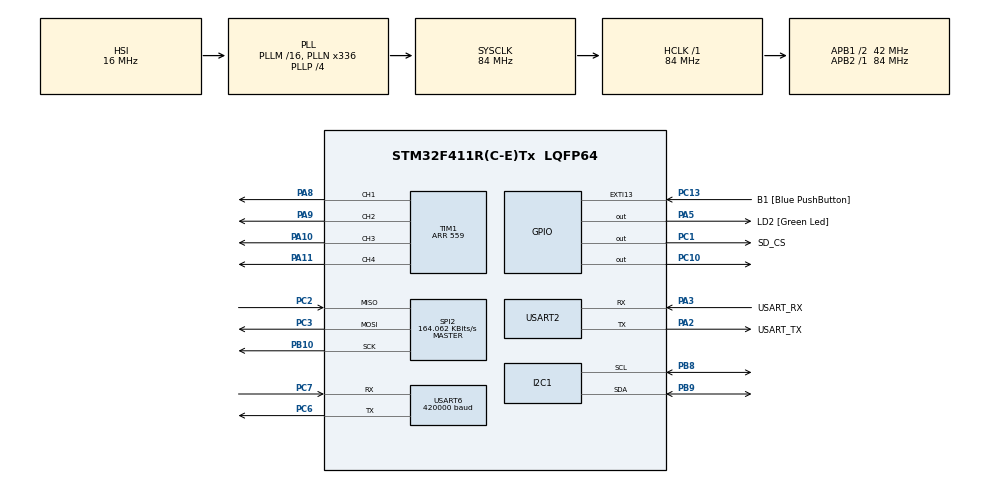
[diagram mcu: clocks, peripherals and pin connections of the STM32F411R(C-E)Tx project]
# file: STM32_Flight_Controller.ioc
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Dma.Request0=TIM1_UP
Dma.Request1=USART6_RX
Dma.TIM1_UP.0.Direction=DMA_MEMORY_TO_PERIPH
Dma.TIM1_UP.0.FIFOMode=DMA_FIFOMODE_DISABLE
Dma.TIM1_UP.0.Instance=DMA2_Stream5
Dma.TIM1_UP.0.MemDataAlignment=DMA_MDATAALIGN_HALFWORD
Dma.TIM1_UP.0.MemInc=DMA_MINC_ENABLE
Dma.TIM1_UP.0.Mode=DMA_NORMAL
Dma.TIM1_UP.0.PeriphDataAlignment=DMA_PDATAALIGN_HALFWORD
Dma.TIM1_UP.0.PeriphInc=DMA_PINC_DISABLE
Dma.TIM1_UP.0.Priority=DMA_PRIORITY_VERY_HIGH
Dma.USART6_RX.1.Direction=DMA_PERIPH_TO_MEMORY
Dma.USART6_RX.1.FIFOMode=DMA_FIFOMODE_DISABLE
Dma.USART6_RX.1.Instance=DMA2_Stream1
Dma.USART6_RX.1.MemDataAlignment=DMA_MDATAALIGN_BYTE
Dma.USART6_RX.1.MemInc=DMA_MINC_ENABLE
Dma.USART6_RX.1.Mode=DMA_CIRCULAR
Dma.USART6_RX.1.PeriphDataAlignment=DMA_PDATAALIGN_BYTE
Dma.USART6_RX.1.PeriphInc=DMA_PINC_DISABLE
Dma.USART6_RX.1.Priority=DMA_PRIORITY_MEDIUM
FATFS._FS_NORTC=1
FATFS._USE_FASTSEEK=0
FATFS._USE_MKFS=0
FATFS._USE_STRFUNC=0
Mcu.Family=STM32F4
Mcu.Name=STM32F411R(C-E)Tx
Mcu.Package=LQFP64
NVIC.DMA2_Stream1_IRQn=true\:0\:0\:false\:false\:true\:false\:true\:true
NVIC.DMA2_Stream5_IRQn=true\:0\:0\:false\:false\:true\:false\:true\:true
NVIC.PriorityGroup=NVIC_PRIORITYGROUP_0
NVIC.TIM2_IRQn=true\:0\:0\:false\:false\:true\:true\:true\:true
NVIC.USART6_IRQn=true\:0\:0\:false\:false\:true\:true\:true\:true
PA10.Signal=S_TIM1_CH3
PA11.Signal=S_TIM1_CH4
PA13.GPIO_Label=TMS
PA13.Mode=Serial_Wire
PA13.Signal=SYS_JTMS-SWDIO
PA14.GPIO_Label=TCK
PA14.Mode=Serial_Wire
PA14.Signal=SYS_JTCK-SWCLK
PA2.GPIO_Label=USART_TX
PA2.Mode=Asynchronous
PA2.Signal=USART2_TX
PA3.GPIO_Label=USART_RX
PA3.Mode=Asynchronous
PA3.Signal=USART2_RX
PA5.GPIO_Label=LD2 [Green Led]
PA5.Signal=GPIO_Output
PA8.Signal=S_TIM1_CH1
PA9.Signal=S_TIM1_CH2
PB10.Mode=Full_Duplex_Master
PB10.Signal=SPI2_SCK
PB3.GPIO_Label=SWO
PB3.Signal=SYS_JTDO-SWO
PB8.Mode=I2C
PB8.Signal=I2C1_SCL
PB9.Mode=I2C
PB9.Signal=I2C1_SDA
PC1.GPIO_Label=SD_CS
PC1.PinState=GPIO_PIN_SET
PC1.Signal=GPIO_Output
PC10.Signal=GPIO_Output
PC13-ANTI_TAMP.GPIO_Label=B1 [Blue PushButton]
PC13-ANTI_TAMP.GPIO_ModeDefaultEXTI=GPIO_MODE_IT_FALLING
PC13-ANTI_TAMP.Signal=GPXTI13
PC14-OSC32_IN.Mode=LSE-External-Oscillator
PC14-OSC32_IN.Signal=RCC_OSC32_IN
PC15-OSC32_OUT.Mode=LSE-External-Oscillator
PC15-OSC32_OUT.Signal=RCC_OSC32_OUT
PC2.Mode=Full_Duplex_Master
PC2.Signal=SPI2_MISO
PC3.Mode=Full_Duplex_Master
PC3.Signal=SPI2_MOSI
PC6.Mode=Asynchronous
PC6.Signal=USART6_TX
PC7.Mode=Asynchronous
PC7.Signal=USART6_RX
PH0\ -\ OSC_IN.Mode=HSE-External-Clock-Source
PH0\ -\ OSC_IN.Signal=RCC_OSC_IN
PH1\ -\ OSC_OUT.Mode=HSE-External-Clock-Source
PH1\ -\ OSC_OUT.Signal=RCC_OSC_OUT
ProjectManager.HeapSize=0x200
ProjectManager.StackSize=0x400
ProjectManager.TargetToolchain=STM32CubeIDE
RCC.48MHZClocksFreq_Value=84000000
RCC.AHBFreq_Value=84000000
RCC.APB1CLKDivider=RCC_HCLK_DIV2
RCC.APB1Freq_Value=42000000
RCC.APB1TimFreq_Value=84000000
RCC.APB2Freq_Value=84000000
RCC.APB2TimFreq_Value=84000000
RCC.CortexFreq_Value=84000000
RCC.FLatency-AdvancedSettings=FLASH_LATENCY_2
RCC.HCLKFreq_Value=84000000
RCC.HSE_VALUE=8000000
RCC.HSI_VALUE=16000000
RCC.PLLN=336
RCC.PLLP=RCC_PLLP_DIV4
RCC.SYSCLKFreq_VALUE=84000000
RCC.SYSCLKSource=RCC_SYSCLKSOURCE_PLLCLK
RCC.VCOOutputFreq_Value=336000000
SH.S_TIM1_CH1.0=TIM1_CH1,PWM Generation1 CH1
SH.S_TIM1_CH2.0=TIM1_CH2,PWM Generation2 CH2
SH.S_TIM1_CH3.0=TIM1_CH3,PWM Generation3 CH3
SH.S_TIM1_CH4.0=TIM1_CH4,PWM Generation4 CH4
SPI2.BaudRatePrescaler=SPI_BAUDRATEPRESCALER_256
SPI2.CalculateBaudRate=164.062 KBits/s
SPI2.Direction=SPI_DIRECTION_2LINES
SPI2.Mode=SPI_MODE_MASTER
SPI2.VirtualType=VM_MASTER
TIM1.Channel-PWM\ Generation1\ CH1=TIM_CHANNEL_1
TIM1.Channel-PWM\ Generation2\ CH2=TIM_CHANNEL_2
TIM1.Channel-PWM\ Generation3\ CH3=TIM_CHANNEL_3
TIM1.Channel-PWM\ Generation4\ CH4=TIM_CHANNEL_4
TIM1.Period=559
TIM2.Period=99
TIM2.Prescaler=8399
USART2.VirtualMode=VM_ASYNC
USART6.BaudRate=420000
USART6.VirtualMode=VM_ASYNC
VP_FATFS_VS_Generic.Mode=User_defined
VP_TIM1_VS_ClockSourceINT.Mode=Internal
VP_TIM2_VS_ClockSourceINT.Mode=Internal
board=NUCLEO-F411RE

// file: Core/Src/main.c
/* USER CODE BEGIN Header */
/**
  ******************************************************************************
  * @file           : main.c
  * @brief          : Main program body
  ******************************************************************************
  * @attention
  *
  * Copyright (c) 2026 STMicroelectronics.
  * All rights reserved.
  *
  * This software is licensed under terms that can be found in the LICENSE file
  * in the root directory of this software component.
  * If no LICENSE file comes with this software, it is provided AS-IS.
  *
  ******************************************************************************
  */
/* USER CODE END Header */
#include "main.h"
#include "fatfs.h"

/* USER CODE BEGIN Includes */
#include "debug.h"
#include "MPU6050.h"
#include "Mahony.h"
#include "DShot.h"
#include "MotorMixer.h"
#include "CRSF.h"
#include "RCInput.h"
#include "FlightController.h"
#include "Logging.h"
#include "Safety.h"
#include "I2CRecovery.h"
#include "SDCard.h"

#include "fatfs.h"

#include <stdio.h>
#include <stdbool.h>
#include <string.h>

/* USER CODE END Includes */

I2C_HandleTypeDef hi2c1;

SPI_HandleTypeDef hspi2;

TIM_HandleTypeDef htim1;
TIM_HandleTypeDef htim2;
DMA_HandleTypeDef hdma_tim1_up;

UART_HandleTypeDef huart2;
UART_HandleTypeDef huart6;
DMA_HandleTypeDef hdma_usart6_rx;

/* USER CODE BEGIN PV */

float roll = 0.0f;
float pitch = 0.0f;
float yaw = 0.0f;

float rollOffset = 0.0f;
float pitchOffset = 0.0f;

volatile uint32_t valid_frame_count = 0;

volatile uint8_t ControlLoopFlag = 0;

/* USER CODE END PV */

void SystemClock_Config(void);
static void MX_GPIO_Init(void);
static void MX_DMA_Init(void);
static void MX_USART2_UART_Init(void);
static void MX_I2C1_Init(void);
static void MX_TIM2_Init(void);
static void MX_TIM1_Init(void);
static void MX_USART6_UART_Init(void);
static void MX_SPI2_Init(void);

/* USER CODE BEGIN 0 */

volatile uint32_t timer_count = 0;

void HAL_TIM_PeriodElapsedCallback(TIM_HandleTypeDef *htim)
{
    if (htim->Instance == TIM2)
    {
        ControlLoopFlag = 1;
//        timer_count++;
    }

}

/* USER CODE END 0 */

int main(void)
{

  /* MCU Configuration--------------------------------------------------------*/

  /* Reset of all peripherals, Initializes the Flash interface and the Systick. */
  HAL_Init();

  /* Configure the system clock */
  SystemClock_Config();

  /* Initialize all configured peripherals */
  MX_GPIO_Init();
  MX_DMA_Init();
  MX_USART2_UART_Init();
  MX_I2C1_Init();
  MX_TIM2_Init();
  MX_TIM1_Init();
  MX_USART6_UART_Init();
  MX_SPI2_Init();
  MX_FATFS_Init();
  /* USER CODE BEGIN 2 */

  /* Real Init Sequence */
  uint32_t reset_flags = RCC->CSR;

  printf("\r\n========== NEW BOOT ==========\r\n");
  printf("Reset flags: 0x%08lX\r\n", reset_flags);

  __HAL_RCC_CLEAR_RESET_FLAGS();

  static uint32_t boot_count = 0;
  boot_count++;

  printf("MAIN START %lu\r\n", boot_count);

  printf("Flight controller booted!\r\n");

  DShot_Init();

  while (!MPU6050_Init())
  {
      printf("MPU6050 initialization failed\r\n");

      HAL_StatusTypeDef status =
          HAL_I2C_IsDeviceReady(&hi2c1, 0x68 << 1, 3, 10);

      printf("Ready status: %d | HAL error: 0x%08lX\r\n",
             status,
             HAL_I2C_GetError(&hi2c1));

     bool recovered = I2CRecovery();

     printf("recovered = %s\r\n", recovered ? "SUCCESSS" : "FAILED");

     MX_I2C1_Init();

      HAL_Delay(500);
  }

  printf("MPU6050 initialized\r\n");

  printf("Keep MPU6050 still. Calibrating...\r\n");
  Calibrate_MPU6050();

  printf("Gyro offsets: %.3f, %.3f, %.3f\r\n",
         GxOffset,
         GyOffset,
         GzOffset);

  Mahony_Init();
  Mahony_SetGains(3.15f, 0.0f);
//
  FlightController_Init();

  CRSF_Init();

  Safety_Init();
//
  /*
   * Establish an initial attitude before starting the control timer.
   */
  for (uint16_t i = 0; i < 200; i++)
  {
      MPU6050_Read();

      float correctedGx = Gx - GxOffset;
      float correctedGy = Gy - GyOffset;
      float correctedGz = Gz - GzOffset;

      Mahony_UpdateIMU(
              correctedGx,
              correctedGy,
              correctedGz,
              Ax,
              Ay,
              Az,
              0.01f);

      HAL_Delay(10);
  }

  Mahony_GetEuler(&roll, &pitch, &yaw);

  rollOffset = roll;
  pitchOffset = pitch;

  printf("Level offsets: Roll %.2f, Pitch %.2f\r\n",
         rollOffset,
         pitchOffset);

  printf("Calibration complete\r\n");
//
//
  Logger_Reset();
//
  if (HAL_TIM_Base_Start_IT(&htim2) != HAL_OK)
  {
      Error_Handler();
  }
//
  FlightData flight_data;

  bool was_armed = false;
  bool current_armed = false;

  uint16_t current_throttle = 0;

  bool log_flush_requested = false;

  /* End of Real Init Sequence */

  /* USER CODE END 2 */

  /* Infinite loop */
  while (1)
  {

    /* USER CODE BEGIN 3 */

      /* Real Control Loop */

      if (ControlLoopFlag)
      {
          ControlLoopFlag = 0;

          HAL_GPIO_WritePin(GPIOC, GPIO_PIN_10, GPIO_PIN_SET);

          Safety_Input safety;

          bool imu_valid = MPU6050_Read();

          float correctedGx = 0.0f;
          float correctedGy = 0.0f;
          float correctedGz = 0.0f;

          float roll = 0.0f;
          float pitch = 0.0f;
          float yaw = 0.0f;

          if (imu_valid == true)
          {

              correctedGx = Gx - GxOffset;
              correctedGy = Gy - GyOffset;
              correctedGz = Gz - GzOffset;

              Mahony_UpdateIMU(
                      correctedGx,
                      correctedGy,
                      correctedGz,
                      Ax,
                      Ay,
                      Az,
                      0.01f);

              Mahony_GetEuler(&roll, &pitch, &yaw);

              roll -= rollOffset;
              pitch -= pitchOffset;
          }

          const uint16_t *channels = CRSF_GetChannels();

          valid_frame_count = CRSF_GetValidFrameCount();

          RCInput_Update(channels);

          const RC_Setpoints *setpoints =
                  RCInput_GetSetpoints();

          safety.arm_requested = setpoints->arm_requested;
          safety.receiver_valid = CRSF_IsReceiverValid();
          safety.throttle = setpoints->throttle;
          safety.sensor_valid = imu_valid;

          Safety_Update(&safety);

          FlightController_Input controller_input = {
                  .roll_setpoint = setpoints->roll_setpoint,
                  .pitch_setpoint = setpoints->pitch_setpoint,
                  .yaw_rate_setpoint = setpoints->yaw_rate_setpoint,

                  .throttle = setpoints->throttle,

                  .roll_measured = roll,
                  .pitch_measured = pitch,
                  .yaw_rate_measured = correctedGz,

                  .dt = 0.01f
          };

         FlightController_Update(&controller_input);

         const FlightController_Output *controller_output =
                 FlightController_GetOutput();

         MotorOutputs motor_output = MotorMixer_Mix(
                 (int16_t)controller_output->roll_correction,
                 (int16_t)controller_output->pitch_correction,
                 (int16_t)controller_output->yaw_rate_correction,
                 setpoints->throttle);

          if (Safety_IsArmed())
          {
              DShot_Send(
                      motor_output.m1,
                      motor_output.m2,
                      motor_output.m3,
                      motor_output.m4);
          }
          else
          {
              FlightController_Reset();
              DShot_Send(0, 0, 0, 0);
          }

          flight_data = (FlightData) {
              .roll_measured = roll,
              .pitch_measured = pitch,
              .yaw_rate_measured = correctedGz,

              .roll_setpoint = setpoints->roll_setpoint,
              .pitch_setpoint = setpoints->pitch_setpoint,
              .yaw_rate_setpoint = setpoints->yaw_rate_setpoint,

              .roll_correction = controller_output->roll_correction,
              .pitch_correction = controller_output->pitch_correction,
              .yaw_rate_correction = controller_output->yaw_rate_correction,

              .roll_p_term = controller_output->roll_p_term,
              .roll_i_term = controller_output->roll_i_term,
              .roll_d_term = controller_output->roll_d_term,

              .pitch_p_term = controller_output->pitch_p_term,
              .pitch_i_term = controller_output->pitch_i_term,
              .pitch_d_term = controller_output->pitch_d_term,

              .yaw_p_term = controller_output->yaw_p_term,
              .yaw_i_term = controller_output->yaw_i_term,
              .yaw_d_term = controller_output->yaw_d_term,

              .throttle = setpoints->throttle,

              .motor1 = motor_output.m1,
              .motor2 = motor_output.m2,
              .motor3 = motor_output.m3,
              .motor4 = motor_output.m4,

              .valid_frame_count = CRSF_GetValidFrameCount(),

              .receiver_valid = safety.receiver_valid,
              .sensor_valid = safety.sensor_valid,
              .arm_requested = safety.arm_requested,
              .armed = Safety_IsArmed(),

              .timestamp_ms = HAL_GetTick()
          };

          current_armed = flight_data.armed;
          current_throttle = flight_data.throttle;

          if ((current_armed == true) && (current_throttle >= 550))
          {
              Logger_ReceiveData(&flight_data);
          }

          if ((current_armed == false) && (was_armed == true))
          {
              log_flush_requested = true;
              printf("DISARM EDGE DETECTED\r\n");
          }

          was_armed = current_armed;

          HAL_GPIO_WritePin(GPIOC, GPIO_PIN_10, GPIO_PIN_RESET);
      }

      if (log_flush_requested == true)
      {
          printf("PROCESSING LOG\r\n");
          Logger_ProcessData();
          log_flush_requested = false;
      }

   /* End of Real Control Loop */

      }

  /* USER CODE END 3 */
}

void SystemClock_Config(void)
{
  RCC_OscInitTypeDef RCC_OscInitStruct = {0};
  RCC_ClkInitTypeDef RCC_ClkInitStruct = {0};

  /** Configure the main internal regulator output voltage
  */
  __HAL_RCC_PWR_CLK_ENABLE();
  __HAL_PWR_VOLTAGESCALING_CONFIG(PWR_REGULATOR_VOLTAGE_SCALE1);

  /** Initializes the RCC Oscillators according to the specified parameters
  * in the RCC_OscInitTypeDef structure.
  */
  RCC_OscInitStruct.OscillatorType = RCC_OSCILLATORTYPE_HSI;
  RCC_OscInitStruct.HSIState = RCC_HSI_ON;
  RCC_OscInitStruct.HSICalibrationValue = RCC_HSICALIBRATION_DEFAULT;
  RCC_OscInitStruct.PLL.PLLState = RCC_PLL_ON;
  RCC_OscInitStruct.PLL.PLLSource = RCC_PLLSOURCE_HSI;
  RCC_OscInitStruct.PLL.PLLM = 16;
  RCC_OscInitStruct.PLL.PLLN = 336;
  RCC_OscInitStruct.PLL.PLLP = RCC_PLLP_DIV4;
  RCC_OscInitStruct.PLL.PLLQ = 4;
  if (HAL_RCC_OscConfig(&RCC_OscInitStruct) != HAL_OK)
  {
    Error_Handler();
  }

  /** Initializes the CPU, AHB and APB buses clocks
  */
  RCC_ClkInitStruct.ClockType = RCC_CLOCKTYPE_HCLK|RCC_CLOCKTYPE_SYSCLK
                              |RCC_CLOCKTYPE_PCLK1|RCC_CLOCKTYPE_PCLK2;
  RCC_ClkInitStruct.SYSCLKSource = RCC_SYSCLKSOURCE_PLLCLK;
  RCC_ClkInitStruct.AHBCLKDivider = RCC_SYSCLK_DIV1;
  RCC_ClkInitStruct.APB1CLKDivider = RCC_HCLK_DIV2;
  RCC_ClkInitStruct.APB2CLKDivider = RCC_HCLK_DIV1;

  if (HAL_RCC_ClockConfig(&RCC_ClkInitStruct, FLASH_LATENCY_2) != HAL_OK)
  {
    Error_Handler();
  }
}

static void MX_I2C1_Init(void)
{

  hi2c1.Instance = I2C1;
  hi2c1.Init.ClockSpeed = 100000;
  hi2c1.Init.DutyCycle = I2C_DUTYCYCLE_2;
  hi2c1.Init.OwnAddress1 = 0;
  hi2c1.Init.AddressingMode = I2C_ADDRESSINGMODE_7BIT;
  hi2c1.Init.DualAddressMode = I2C_DUALADDRESS_DISABLE;
  hi2c1.Init.OwnAddress2 = 0;
  hi2c1.Init.GeneralCallMode = I2C_GENERALCALL_DISABLE;
  hi2c1.Init.NoStretchMode = I2C_NOSTRETCH_DISABLE;
  if (HAL_I2C_Init(&hi2c1) != HAL_OK)
  {
    Error_Handler();
  }

}

static void MX_SPI2_Init(void)
{

  /* SPI2 parameter configuration*/
  hspi2.Instance = SPI2;
  hspi2.Init.Mode = SPI_MODE_MASTER;
  hspi2.Init.Direction = SPI_DIRECTION_2LINES;
  hspi2.Init.DataSize = SPI_DATASIZE_8BIT;
  hspi2.Init.CLKPolarity = SPI_POLARITY_LOW;
  hspi2.Init.CLKPhase = SPI_PHASE_1EDGE;
  hspi2.Init.NSS = SPI_NSS_SOFT;
  hspi2.Init.BaudRatePrescaler = SPI_BAUDRATEPRESCALER_256;
  hspi2.Init.FirstBit = SPI_FIRSTBIT_MSB;
  hspi2.Init.TIMode = SPI_TIMODE_DISABLE;
  hspi2.Init.CRCCalculation = SPI_CRCCALCULATION_DISABLE;
  hspi2.Init.CRCPolynomial = 10;
  if (HAL_SPI_Init(&hspi2) != HAL_OK)
  {
    Error_Handler();
  }

}

static void MX_TIM1_Init(void)
{

  TIM_ClockConfigTypeDef sClockSourceConfig = {0};
  TIM_MasterConfigTypeDef sMasterConfig = {0};
  TIM_OC_InitTypeDef sConfigOC = {0};
  TIM_BreakDeadTimeConfigTypeDef sBreakDeadTimeConfig = {0};

  htim1.Instance = TIM1;
  htim1.Init.Prescaler = 0;
  htim1.Init.CounterMode = TIM_COUNTERMODE_UP;
  htim1.Init.Period = 559;
  htim1.Init.ClockDivision = TIM_CLOCKDIVISION_DIV1;
  htim1.Init.RepetitionCounter = 0;
  htim1.Init.AutoReloadPreload = TIM_AUTORELOAD_PRELOAD_DISABLE;
  if (HAL_TIM_Base_Init(&htim1) != HAL_OK)
  {
    Error_Handler();
  }
  sClockSourceConfig.ClockSource = TIM_CLOCKSOURCE_INTERNAL;
  if (HAL_TIM_ConfigClockSource(&htim1, &sClockSourceConfig) != HAL_OK)
  {
    Error_Handler();
  }
  if (HAL_TIM_PWM_Init(&htim1) != HAL_OK)
  {
    Error_Handler();
  }
  sMasterConfig.MasterOutputTrigger = TIM_TRGO_RESET;
  sMasterConfig.MasterSlaveMode = TIM_MASTERSLAVEMODE_DISABLE;
  if (HAL_TIMEx_MasterConfigSynchronization(&htim1, &sMasterConfig) != HAL_OK)
  {
    Error_Handler();
  }
  sConfigOC.OCMode = TIM_OCMODE_PWM1;
  sConfigOC.Pulse = 0;
  sConfigOC.OCPolarity = TIM_OCPOLARITY_HIGH;
  sConfigOC.OCNPolarity = TIM_OCNPOLARITY_HIGH;
  sConfigOC.OCFastMode = TIM_OCFAST_DISABLE;
  sConfigOC.OCIdleState = TIM_OCIDLESTATE_RESET;
  sConfigOC.OCNIdleState = TIM_OCNIDLESTATE_RESET;
  if (HAL_TIM_PWM_ConfigChannel(&htim1, &sConfigOC, TIM_CHANNEL_1) != HAL_OK)
  {
    Error_Handler();
  }
  if (HAL_TIM_PWM_ConfigChannel(&htim1, &sConfigOC, TIM_CHANNEL_2) != HAL_OK)
  {
    Error_Handler();
  }
  if (HAL_TIM_PWM_ConfigChannel(&htim1, &sConfigOC, TIM_CHANNEL_3) != HAL_OK)
  {
    Error_Handler();
  }
  if (HAL_TIM_PWM_ConfigChannel(&htim1, &sConfigOC, TIM_CHANNEL_4) != HAL_OK)
  {
    Error_Handler();
  }
  sBreakDeadTimeConfig.OffStateRunMode = TIM_OSSR_DISABLE;
  sBreakDeadTimeConfig.OffStateIDLEMode = TIM_OSSI_DISABLE;
  sBreakDeadTimeConfig.LockLevel = TIM_LOCKLEVEL_OFF;
  sBreakDeadTimeConfig.DeadTime = 0;
  sBreakDeadTimeConfig.BreakState = TIM_BREAK_DISABLE;
  sBreakDeadTimeConfig.BreakPolarity = TIM_BREAKPOLARITY_HIGH;
  sBreakDeadTimeConfig.AutomaticOutput = TIM_AUTOMATICOUTPUT_DISABLE;
  if (HAL_TIMEx_ConfigBreakDeadTime(&htim1, &sBreakDeadTimeConfig) != HAL_OK)
  {
    Error_Handler();
  }
  HAL_TIM_MspPostInit(&htim1);

}

static void MX_TIM2_Init(void)
{

  TIM_ClockConfigTypeDef sClockSourceConfig = {0};
  TIM_MasterConfigTypeDef sMasterConfig = {0};

  htim2.Instance = TIM2;
  htim2.Init.Prescaler = 8399;
  htim2.Init.CounterMode = TIM_COUNTERMODE_UP;
  htim2.Init.Period = 99;
  htim2.Init.ClockDivision = TIM_CLOCKDIVISION_DIV1;
  htim2.Init.AutoReloadPreload = TIM_AUTORELOAD_PRELOAD_DISABLE;
  if (HAL_TIM_Base_Init(&htim2) != HAL_OK)
  {
    Error_Handler();
  }
  sClockSourceConfig.ClockSource = TIM_CLOCKSOURCE_INTERNAL;
  if (HAL_TIM_ConfigClockSource(&htim2, &sClockSourceConfig) != HAL_OK)
  {
    Error_Handler();
  }
  sMasterConfig.MasterOutputTrigger = TIM_TRGO_RESET;
  sMasterConfig.MasterSlaveMode = TIM_MASTERSLAVEMODE_DISABLE;
  if (HAL_TIMEx_MasterConfigSynchronization(&htim2, &sMasterConfig) != HAL_OK)
  {
    Error_Handler();
  }

}

static void MX_USART2_UART_Init(void)
{

  huart2.Instance = USART2;
  huart2.Init.BaudRate = 115200;
  huart2.Init.WordLength = UART_WORDLENGTH_8B;
  huart2.Init.StopBits = UART_STOPBITS_1;
  huart2.Init.Parity = UART_PARITY_NONE;
  huart2.Init.Mode = UART_MODE_TX_RX;
  huart2.Init.HwFlowCtl = UART_HWCONTROL_NONE;
  huart2.Init.OverSampling = UART_OVERSAMPLING_16;
  if (HAL_UART_Init(&huart2) != HAL_OK)
  {
    Error_Handler();
  }

}

static void MX_USART6_UART_Init(void)
{

  huart6.Instance = USART6;
  huart6.Init.BaudRate = 420000;
  huart6.Init.WordLength = UART_WORDLENGTH_8B;
  huart6.Init.StopBits = UART_STOPBITS_1;
  huart6.Init.Parity = UART_PARITY_NONE;
  huart6.Init.Mode = UART_MODE_TX_RX;
  huart6.Init.HwFlowCtl = UART_HWCONTROL_NONE;
  huart6.Init.OverSampling = UART_OVERSAMPLING_16;
  if (HAL_UART_Init(&huart6) != HAL_OK)
  {
    Error_Handler();
  }

}

static void MX_DMA_Init(void)
{

  /* DMA controller clock enable */
  __HAL_RCC_DMA2_CLK_ENABLE();

  /* DMA interrupt init */
  /* DMA2_Stream1_IRQn interrupt configuration */
  HAL_NVIC_SetPriority(DMA2_Stream1_IRQn, 0, 0);
  HAL_NVIC_EnableIRQ(DMA2_Stream1_IRQn);
  /* DMA2_Stream5_IRQn interrupt configuration */
  HAL_NVIC_SetPriority(DMA2_Stream5_IRQn, 0, 0);
  HAL_NVIC_EnableIRQ(DMA2_Stream5_IRQn);

}

static void MX_GPIO_Init(void)
{
  GPIO_InitTypeDef GPIO_InitStruct = {0};

  /* GPIO Ports Clock Enable */
  __HAL_RCC_GPIOC_CLK_ENABLE();
  __HAL_RCC_GPIOH_CLK_ENABLE();
  __HAL_RCC_GPIOA_CLK_ENABLE();
  __HAL_RCC_GPIOB_CLK_ENABLE();

  /*Configure GPIO pin Output Level */
  HAL_GPIO_WritePin(SD_CS_GPIO_Port, SD_CS_Pin, GPIO_PIN_SET);

  /*Configure GPIO pin Output Level */
  HAL_GPIO_WritePin(LD2_GPIO_Port, LD2_Pin, GPIO_PIN_RESET);

  /*Configure GPIO pin Output Level */
  HAL_GPIO_WritePin(GPIOC, GPIO_PIN_10, GPIO_PIN_RESET);

  /*Configure GPIO pin : B1_Pin */
  GPIO_InitStruct.Pin = B1_Pin;
  GPIO_InitStruct.Mode = GPIO_MODE_IT_FALLING;
  GPIO_InitStruct.Pull = GPIO_NOPULL;
  HAL_GPIO_Init(B1_GPIO_Port, &GPIO_InitStruct);

  /*Configure GPIO pins : SD_CS_Pin PC10 */
  GPIO_InitStruct.Pin = SD_CS_Pin|GPIO_PIN_10;
  GPIO_InitStruct.Mode = GPIO_MODE_OUTPUT_PP;
  GPIO_InitStruct.Pull = GPIO_NOPULL;
  GPIO_InitStruct.Speed = GPIO_SPEED_FREQ_LOW;
  HAL_GPIO_Init(GPIOC, &GPIO_InitStruct);

  /*Configure GPIO pin : LD2_Pin */
  GPIO_InitStruct.Pin = LD2_Pin;
  GPIO_InitStruct.Mode = GPIO_MODE_OUTPUT_PP;
  GPIO_InitStruct.Pull = GPIO_NOPULL;
  GPIO_InitStruct.Speed = GPIO_SPEED_FREQ_LOW;
  HAL_GPIO_Init(LD2_GPIO_Port, &GPIO_InitStruct);

}

void Error_Handler(void)
{
  __disable_irq();
  while (1)
  {
  }
}
